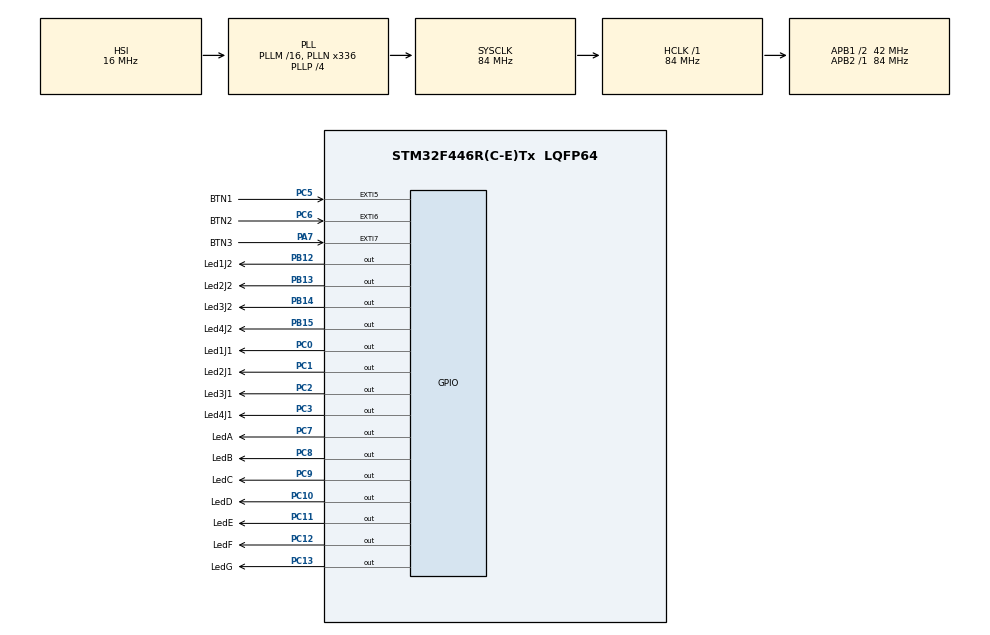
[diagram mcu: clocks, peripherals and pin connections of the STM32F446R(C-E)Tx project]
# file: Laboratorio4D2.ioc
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Mcu.Family=STM32F4
Mcu.Name=STM32F446R(C-E)Tx
Mcu.Package=LQFP64
NVIC.EXTI9_5_IRQn=true\:0\:0\:true\:false\:true\:true\:true\:true
NVIC.PriorityGroup=NVIC_PRIORITYGROUP_0
NVIC.TIM2_IRQn=true\:0\:0\:false\:false\:true\:true\:true\:true
PA14.GPIO_Label=TCK
PA14.Signal=SYS_JTCK-SWCLK
PA2.GPIO_Label=USART_TX
PA2.Signal=USART2_TX
PA7.GPIO_Label=BTN3
PA7.GPIO_ModeDefaultEXTI=GPIO_MODE_IT_FALLING
PA7.GPIO_PuPd=GPIO_PULLUP
PA7.Signal=GPXTI7
PB12.GPIO_Label=Led1J2
PB12.GPIO_ModeDefaultOutputPP=GPIO_MODE_OUTPUT_PP
PB12.Signal=GPIO_Output
PB13.GPIO_Label=Led2J2
PB13.Signal=GPIO_Output
PB14.GPIO_Label=Led3J2
PB14.Signal=GPIO_Output
PB15.GPIO_Label=Led4J2
PB15.Signal=GPIO_Output
PC0.GPIO_Label=Led1J1
PC0.Signal=GPIO_Output
PC1.GPIO_Label=Led2J1
PC1.Signal=GPIO_Output
PC10.GPIO_Label=LedD
PC10.Signal=GPIO_Output
PC11.GPIO_Label=LedE
PC11.Signal=GPIO_Output
PC12.GPIO_Label=LedF
PC12.Signal=GPIO_Output
PC13.GPIO_Label=LedG
PC13.Signal=GPIO_Output
PC2.GPIO_Label=Led3J1
PC2.Signal=GPIO_Output
PC3.GPIO_Label=Led4J1
PC3.Signal=GPIO_Output
PC5.GPIO_Label=BTN1
PC5.GPIO_ModeDefaultEXTI=GPIO_MODE_IT_FALLING
PC5.GPIO_PuPd=GPIO_PULLUP
PC5.Signal=GPXTI5
PC6.GPIO_Label=BTN2
PC6.GPIO_ModeDefaultEXTI=GPIO_MODE_IT_FALLING
PC6.GPIO_PuPd=GPIO_PULLUP
PC6.Signal=GPXTI6
PC7.GPIO_Label=LedA
PC7.Signal=GPIO_Output
PC8.GPIO_Label=LedB
PC8.Signal=GPIO_Output
PC9.GPIO_Label=LedC
PC9.Signal=GPIO_Output
ProjectManager.HeapSize=0x200
ProjectManager.StackSize=0x400
ProjectManager.TargetToolchain=STM32CubeIDE
RCC.48MHZClocksFreq_Value=84000000
RCC.AHBFreq_Value=84000000
RCC.APB1CLKDivider=RCC_HCLK_DIV2
RCC.APB1Freq_Value=42000000
RCC.APB1TimFreq_Value=84000000
RCC.APB2Freq_Value=84000000
RCC.APB2TimFreq_Value=84000000
RCC.CortexFreq_Value=84000000
RCC.FLatency-AdvancedSettings=FLASH_LATENCY_2
RCC.HCLKFreq_Value=84000000
RCC.HSE_VALUE=8000000
RCC.HSI_VALUE=16000000
RCC.PLLN=336
RCC.PLLP=RCC_PLLP_DIV4
RCC.SYSCLKFreq_VALUE=84000000
RCC.SYSCLKSource=RCC_SYSCLKSOURCE_PLLCLK
RCC.USBFreq_Value=168000000
RCC.VCOOutputFreq_Value=336000000
TIM2.Period=999
TIM2.Prescaler=83
VP_TIM2_VS_ClockSourceINT.Mode=Internal
board=NUCLEO-F446RE

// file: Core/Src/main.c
/* USER CODE BEGIN Header */
/**
  ******************************************************************************
  * @file           : main.c
  * @brief          : Main program body
  ******************************************************************************
  * @attention
  *
  * Copyright (c) 2026 STMicroelectronics.
  * All rights reserved.
  *
  * This software is licensed under terms that can be found in the LICENSE file
  * in the root directory of this software component.
  * If no LICENSE file comes with this software, it is provided AS-IS.
  *
  ******************************************************************************
  */
/* USER CODE END Header */
#include "main.h"

TIM_HandleTypeDef htim2;

/* USER CODE BEGIN PV */
volatile uint8_t contador = 0;
volatile uint8_t cont = 5;
volatile uint16_t banTimer = 0; // Necesita ser de 16 para que no se queda en 255
volatile uint8_t cont1 = 0;
volatile uint8_t cont2 = 0;
volatile uint8_t gana = 0;

uint8_t DIS7SEG[6] = {0x7E, 0x30, 0x6D, 0x79, 0x33, 0x5B}; //cambiar el valor dentro de la llaves.

/* USER CODE END PV */

void SystemClock_Config(void);
static void MX_GPIO_Init(void);
static void MX_TIM2_Init(void);
/* USER CODE BEGIN PFP */
void display(uint8_t num);
void ledJ1(uint8_t n1);
void ledJ2(uint8_t n2);
void reset(void);

/* USER CODE END PFP */

int main(void)
{

  /* MCU Configuration--------------------------------------------------------*/

  /* Reset of all peripherals, Initializes the Flash interface and the Systick. */
  HAL_Init();

  /* Configure the system clock */
  SystemClock_Config();

  /* Initialize all configured peripherals */
  MX_GPIO_Init();
  MX_TIM2_Init();
  /* USER CODE BEGIN 2 */
  display(0);
  HAL_TIM_Base_Start_IT(&htim2);
  /* USER CODE END 2 */

  /* Infinite loop */
  /* USER CODE BEGIN WHILE */
  while (1)
  { //Mi codigo base para

    /* USER CODE END WHILE */

  }
}

void SystemClock_Config(void)
{
  RCC_OscInitTypeDef RCC_OscInitStruct = {0};
  RCC_ClkInitTypeDef RCC_ClkInitStruct = {0};

  /** Configure the main internal regulator output voltage
  */
  __HAL_RCC_PWR_CLK_ENABLE();
  __HAL_PWR_VOLTAGESCALING_CONFIG(PWR_REGULATOR_VOLTAGE_SCALE3);

  /** Initializes the RCC Oscillators according to the specified parameters
  * in the RCC_OscInitTypeDef structure.
  */
  RCC_OscInitStruct.OscillatorType = RCC_OSCILLATORTYPE_HSI;
  RCC_OscInitStruct.HSIState = RCC_HSI_ON;
  RCC_OscInitStruct.HSICalibrationValue = RCC_HSICALIBRATION_DEFAULT;
  RCC_OscInitStruct.PLL.PLLState = RCC_PLL_ON;
  RCC_OscInitStruct.PLL.PLLSource = RCC_PLLSOURCE_HSI;
  RCC_OscInitStruct.PLL.PLLM = 16;
  RCC_OscInitStruct.PLL.PLLN = 336;
  RCC_OscInitStruct.PLL.PLLP = RCC_PLLP_DIV4;
  RCC_OscInitStruct.PLL.PLLQ = 2;
  RCC_OscInitStruct.PLL.PLLR = 2;
  if (HAL_RCC_OscConfig(&RCC_OscInitStruct) != HAL_OK)
  {
    Error_Handler();
  }

  /** Initializes the CPU, AHB and APB buses clocks
  */
  RCC_ClkInitStruct.ClockType = RCC_CLOCKTYPE_HCLK|RCC_CLOCKTYPE_SYSCLK
                              |RCC_CLOCKTYPE_PCLK1|RCC_CLOCKTYPE_PCLK2;
  RCC_ClkInitStruct.SYSCLKSource = RCC_SYSCLKSOURCE_PLLCLK;
  RCC_ClkInitStruct.AHBCLKDivider = RCC_SYSCLK_DIV1;
  RCC_ClkInitStruct.APB1CLKDivider = RCC_HCLK_DIV2;
  RCC_ClkInitStruct.APB2CLKDivider = RCC_HCLK_DIV1;

  if (HAL_RCC_ClockConfig(&RCC_ClkInitStruct, FLASH_LATENCY_2) != HAL_OK)
  {
    Error_Handler();
  }
}

static void MX_TIM2_Init(void)
{

  TIM_ClockConfigTypeDef sClockSourceConfig = {0};
  TIM_MasterConfigTypeDef sMasterConfig = {0};

  htim2.Instance = TIM2;
  htim2.Init.Prescaler = 83;
  htim2.Init.CounterMode = TIM_COUNTERMODE_UP;
  htim2.Init.Period = 999;
  htim2.Init.ClockDivision = TIM_CLOCKDIVISION_DIV1;
  htim2.Init.AutoReloadPreload = TIM_AUTORELOAD_PRELOAD_DISABLE;
  if (HAL_TIM_Base_Init(&htim2) != HAL_OK)
  {
    Error_Handler();
  }
  sClockSourceConfig.ClockSource = TIM_CLOCKSOURCE_INTERNAL;
  if (HAL_TIM_ConfigClockSource(&htim2, &sClockSourceConfig) != HAL_OK)
  {
    Error_Handler();
  }
  sMasterConfig.MasterOutputTrigger = TIM_TRGO_RESET;
  sMasterConfig.MasterSlaveMode = TIM_MASTERSLAVEMODE_DISABLE;
  if (HAL_TIMEx_MasterConfigSynchronization(&htim2, &sMasterConfig) != HAL_OK)
  {
    Error_Handler();
  }

}

static void MX_GPIO_Init(void)
{
  GPIO_InitTypeDef GPIO_InitStruct = {0};

  /* GPIO Ports Clock Enable */
  __HAL_RCC_GPIOC_CLK_ENABLE();
  __HAL_RCC_GPIOA_CLK_ENABLE();
  __HAL_RCC_GPIOB_CLK_ENABLE();

  /*Configure GPIO pin Output Level */
  HAL_GPIO_WritePin(GPIOC, LedG_Pin|Led1J1_Pin|Led2J1_Pin|Led3J1_Pin
                          |Led4J1_Pin|LedA_Pin|LedB_Pin|LedC_Pin
                          |LedD_Pin|LedE_Pin|LedF_Pin, GPIO_PIN_RESET);

  /*Configure GPIO pin Output Level */
  HAL_GPIO_WritePin(GPIOB, Led1J2_Pin|Led2J2_Pin|Led3J2_Pin|Led4J2_Pin, GPIO_PIN_RESET);

  /*Configure GPIO pins : LedG_Pin Led1J1_Pin Led2J1_Pin Led3J1_Pin
                           Led4J1_Pin LedA_Pin LedB_Pin LedC_Pin
                           LedD_Pin LedE_Pin LedF_Pin */
  GPIO_InitStruct.Pin = LedG_Pin|Led1J1_Pin|Led2J1_Pin|Led3J1_Pin
                          |Led4J1_Pin|LedA_Pin|LedB_Pin|LedC_Pin
                          |LedD_Pin|LedE_Pin|LedF_Pin;
  GPIO_InitStruct.Mode = GPIO_MODE_OUTPUT_PP;
  GPIO_InitStruct.Pull = GPIO_NOPULL;
  GPIO_InitStruct.Speed = GPIO_SPEED_FREQ_LOW;
  HAL_GPIO_Init(GPIOC, &GPIO_InitStruct);

  /*Configure GPIO pin : USART_TX_Pin */
  GPIO_InitStruct.Pin = USART_TX_Pin;
  GPIO_InitStruct.Mode = GPIO_MODE_AF_PP;
  GPIO_InitStruct.Pull = GPIO_NOPULL;
  GPIO_InitStruct.Speed = GPIO_SPEED_FREQ_VERY_HIGH;
  GPIO_InitStruct.Alternate = GPIO_AF7_USART2;
  HAL_GPIO_Init(USART_TX_GPIO_Port, &GPIO_InitStruct);

  /*Configure GPIO pin : BTN3_Pin */
  GPIO_InitStruct.Pin = BTN3_Pin;
  GPIO_InitStruct.Mode = GPIO_MODE_IT_FALLING;
  GPIO_InitStruct.Pull = GPIO_PULLUP;
  HAL_GPIO_Init(BTN3_GPIO_Port, &GPIO_InitStruct);

  /*Configure GPIO pins : BTN1_Pin BTN2_Pin */
  GPIO_InitStruct.Pin = BTN1_Pin|BTN2_Pin;
  GPIO_InitStruct.Mode = GPIO_MODE_IT_FALLING;
  GPIO_InitStruct.Pull = GPIO_PULLUP;
  HAL_GPIO_Init(GPIOC, &GPIO_InitStruct);

  /*Configure GPIO pins : Led1J2_Pin Led2J2_Pin Led3J2_Pin Led4J2_Pin */
  GPIO_InitStruct.Pin = Led1J2_Pin|Led2J2_Pin|Led3J2_Pin|Led4J2_Pin;
  GPIO_InitStruct.Mode = GPIO_MODE_OUTPUT_PP;
  GPIO_InitStruct.Pull = GPIO_NOPULL;
  GPIO_InitStruct.Speed = GPIO_SPEED_FREQ_LOW;
  HAL_GPIO_Init(GPIOB, &GPIO_InitStruct);

  /* EXTI interrupt init*/
  HAL_NVIC_SetPriority(EXTI9_5_IRQn, 0, 0);
  HAL_NVIC_EnableIRQ(EXTI9_5_IRQn);

}

/* USER CODE BEGIN 4 */
void HAL_TIM_PeriodElapsedCallback(TIM_HandleTypeDef *htim)
{
	if (htim->Instance == TIM2)
	{
		if (contador == 1)
		{
			banTimer++;
			if (banTimer >= 1000)
			{
				banTimer = 0;
				cont--;
				display(cont); // Actualizar display

				if (cont == 0)
				{
					contador = 0;
					ledJ1(0);
					ledJ2(0);
				}
			}
		}
	}
}

void HAL_GPIO_EXTI_Callback(uint16_t GPIO_Pin){
	if(GPIO_Pin == BTN1_Pin){
		if ((cont == 0) && (gana == 0))
				{
					cont1++;
					ledJ1(cont1);

					if (cont1 >= 4)
					{
						gana = 1;
						display(1);
						ledJ1(5);
						ledJ2(0);
					}
				}
	}

	else if (GPIO_Pin == BTN2_Pin){
		if ((cont == 0) && (gana == 0))
				{
					cont2++;
					ledJ2(cont2);

					if (cont2 >= 4)
					{
						gana = 1;
						display(2);
						ledJ1(0);
						ledJ2(5);
					}
				}
	}

	else if (GPIO_Pin == BTN3_Pin){
		if (contador == 0) // Se podria quidar el if para entrar directo al conteo sin
						   //esperar el conteo completo
				{
					reset(); // Reinicio variables y LEDs
					contador = 1;
					cont = 5;
					banTimer = 0;
					display(cont);
				}

	}
}

void display(uint8_t num)
{
	uint8_t val = DIS7SEG[num];

	HAL_GPIO_WritePin(GPIOC, LedA_Pin, (val & 0x01) ? GPIO_PIN_SET : GPIO_PIN_RESET);
	HAL_GPIO_WritePin(GPIOC, LedB_Pin, (val & 0x02) ? GPIO_PIN_SET : GPIO_PIN_RESET);
	HAL_GPIO_WritePin(GPIOC, LedC_Pin, (val & 0x04) ? GPIO_PIN_SET : GPIO_PIN_RESET);
	HAL_GPIO_WritePin(GPIOC, LedD_Pin, (val & 0x08) ? GPIO_PIN_SET : GPIO_PIN_RESET);
	HAL_GPIO_WritePin(GPIOC, LedE_Pin, (val & 0x10) ? GPIO_PIN_SET : GPIO_PIN_RESET);
	HAL_GPIO_WritePin(GPIOC, LedF_Pin, (val & 0x20) ? GPIO_PIN_SET : GPIO_PIN_RESET);
	HAL_GPIO_WritePin(GPIOC, LedG_Pin, (val & 0x40) ? GPIO_PIN_SET : GPIO_PIN_RESET);
}

void reset(void)
{
	gana = 0;
	cont1 = 0;
	cont2 = 0;
	ledJ1(0);
	ledJ2(0);
}

void ledJ1(uint8_t n1)
{
	switch(n1)
		  {
		  case 0: HAL_GPIO_WritePin(Led1J1_GPIO_Port, Led1J1_Pin,0);
		  	  	  HAL_GPIO_WritePin(Led2J1_GPIO_Port, Led2J1_Pin,0);
		  	  	  HAL_GPIO_WritePin(Led3J1_GPIO_Port, Led3J1_Pin,0);
		  	  	  HAL_GPIO_WritePin(Led4J1_GPIO_Port, Led4J1_Pin,0);
					 break;
		  case 1: HAL_GPIO_WritePin(Led1J1_GPIO_Port, Led1J1_Pin,1);
		  	  	  HAL_GPIO_WritePin(Led2J1_GPIO_Port, Led2J1_Pin,0);
		  	  	  HAL_GPIO_WritePin(Led3J1_GPIO_Port, Led3J1_Pin,0);
		  	  	  HAL_GPIO_WritePin(Led4J1_GPIO_Port, Led4J1_Pin,0);
			  break;
		  case 2: HAL_GPIO_WritePin(Led1J1_GPIO_Port, Led1J1_Pin,0);
		  	  	  HAL_GPIO_WritePin(Led2J1_GPIO_Port, Led2J1_Pin,1);
		  	  	  HAL_GPIO_WritePin(Led3J1_GPIO_Port, Led3J1_Pin,0);
		  	  	  HAL_GPIO_WritePin(Led4J1_GPIO_Port, Led4J1_Pin,0);
		  		  break;
		  case 3: HAL_GPIO_WritePin(Led1J1_GPIO_Port, Led1J1_Pin,0);
		  	  	  HAL_GPIO_WritePin(Led2J1_GPIO_Port, Led2J1_Pin,0);
		  	  	  HAL_GPIO_WritePin(Led3J1_GPIO_Port, Led3J1_Pin,1);
		  	  	  HAL_GPIO_WritePin(Led4J1_GPIO_Port, Led4J1_Pin,0);
		  		  break;

		  case 4: HAL_GPIO_WritePin(Led1J1_GPIO_Port, Led1J1_Pin,0);
		  	  	  HAL_GPIO_WritePin(Led2J1_GPIO_Port, Led2J1_Pin,0);
		  	  	  HAL_GPIO_WritePin(Led3J1_GPIO_Port, Led3J1_Pin,0);
		  	  	  HAL_GPIO_WritePin(Led4J1_GPIO_Port, Led4J1_Pin,1);
		  	  	  break;
		  case 5: HAL_GPIO_WritePin(Led1J1_GPIO_Port, Led1J1_Pin,1);
		  		  HAL_GPIO_WritePin(Led2J1_GPIO_Port, Led2J1_Pin,1);
		  		  HAL_GPIO_WritePin(Led3J1_GPIO_Port, Led3J1_Pin,1);
		  		  HAL_GPIO_WritePin(Led4J1_GPIO_Port, Led4J1_Pin,1);
		  		  break;
		  default:
		  break;
		  }
}

void ledJ2(uint8_t n2)
{
	switch(n2)
		  	  {
		 case 0: HAL_GPIO_WritePin(Led1J2_GPIO_Port, Led1J2_Pin,0);
		 	 	 HAL_GPIO_WritePin(Led2J2_GPIO_Port, Led2J2_Pin,0);
		 	 	 HAL_GPIO_WritePin(Led3J2_GPIO_Port, Led3J2_Pin,0);
		 	 	 HAL_GPIO_WritePin(Led4J2_GPIO_Port, Led4J2_Pin,0);
				 break;
		  case 1: HAL_GPIO_WritePin(Led1J2_GPIO_Port, Led1J2_Pin,1);
				  HAL_GPIO_WritePin(Led2J2_GPIO_Port, Led2J2_Pin,0);
				  HAL_GPIO_WritePin(Led3J2_GPIO_Port, Led3J2_Pin,0);
				  HAL_GPIO_WritePin(Led4J2_GPIO_Port, Led4J2_Pin,0);
			  break;
		  case 2: HAL_GPIO_WritePin(Led1J2_GPIO_Port, Led1J2_Pin,0);
				  HAL_GPIO_WritePin(Led2J2_GPIO_Port, Led2J2_Pin,1);
				  HAL_GPIO_WritePin(Led3J2_GPIO_Port, Led3J2_Pin,0);
				  HAL_GPIO_WritePin(Led4J2_GPIO_Port, Led4J2_Pin,0);
				  break;
		  case 3: HAL_GPIO_WritePin(Led1J2_GPIO_Port, Led1J2_Pin,0);
				  HAL_GPIO_WritePin(Led2J2_GPIO_Port, Led2J2_Pin,0);
				  HAL_GPIO_WritePin(Led3J2_GPIO_Port, Led3J2_Pin,1);
				  HAL_GPIO_WritePin(Led4J2_GPIO_Port, Led4J2_Pin,0);
				  break;

		  case 4: HAL_GPIO_WritePin(Led1J2_GPIO_Port, Led1J2_Pin,0);
				  HAL_GPIO_WritePin(Led2J2_GPIO_Port, Led2J2_Pin,0);
				  HAL_GPIO_WritePin(Led3J2_GPIO_Port, Led3J2_Pin,0);
				  HAL_GPIO_WritePin(Led4J2_GPIO_Port, Led4J2_Pin,1);
				  break;
		  case 5: HAL_GPIO_WritePin(Led1J2_GPIO_Port, Led1J2_Pin,1);
		  	  	  HAL_GPIO_WritePin(Led2J2_GPIO_Port, Led2J2_Pin,1);
		  	  	  HAL_GPIO_WritePin(Led3J2_GPIO_Port, Led3J2_Pin,1);
		  	  	  HAL_GPIO_WritePin(Led4J2_GPIO_Port, Led4J2_Pin,1);
		  	  	  break;
		  default:
		  break;
		  }
}

/* USER CODE END 4 */

void Error_Handler(void)
{
  __disable_irq();
  while (1)
  {
  }
}
